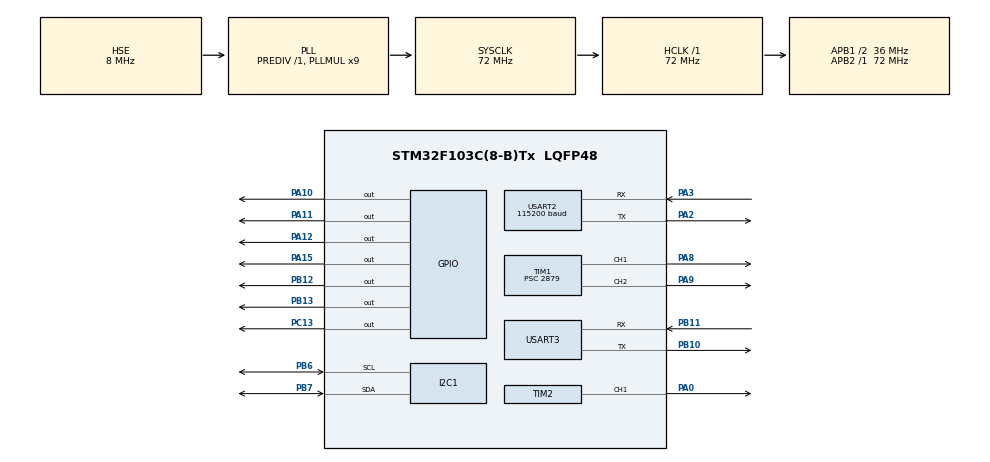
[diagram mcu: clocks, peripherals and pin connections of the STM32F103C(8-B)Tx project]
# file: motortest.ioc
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Dma.Request0=USART3_RX
Dma.USART3_RX.0.Direction=DMA_PERIPH_TO_MEMORY
Dma.USART3_RX.0.Instance=DMA1_Channel3
Dma.USART3_RX.0.MemDataAlignment=DMA_MDATAALIGN_BYTE
Dma.USART3_RX.0.MemInc=DMA_MINC_ENABLE
Dma.USART3_RX.0.Mode=DMA_NORMAL
Dma.USART3_RX.0.PeriphDataAlignment=DMA_PDATAALIGN_BYTE
Dma.USART3_RX.0.PeriphInc=DMA_PINC_DISABLE
Dma.USART3_RX.0.Priority=DMA_PRIORITY_LOW
Mcu.Family=STM32F1
Mcu.Name=STM32F103C(8-B)Tx
Mcu.Package=LQFP48
NVIC.DMA1_Channel3_IRQn=true\:0\:0\:false\:false\:true\:false\:true\:true
NVIC.I2C1_EV_IRQn=true\:0\:0\:false\:false\:true\:true\:true\:true
NVIC.PriorityGroup=NVIC_PRIORITYGROUP_4
NVIC.USART2_IRQn=true\:0\:0\:false\:false\:true\:true\:true\:true
NVIC.USART3_IRQn=true\:0\:0\:false\:false\:true\:true\:true\:true
PA0-WKUP.Signal=S_TIM2_CH1_ETR
PA10.GPIO_PuPd=GPIO_NOPULL
PA10.Signal=GPIO_Output
PA11.GPIO_PuPd=GPIO_NOPULL
PA11.Signal=GPIO_Output
PA12.Signal=GPIO_Output
PA13.Mode=Trace_Asynchronous_SW
PA13.Signal=SYS_JTMS-SWDIO
PA14.Mode=Trace_Asynchronous_SW
PA14.Signal=SYS_JTCK-SWCLK
PA15.Signal=GPIO_Output
PA2.Mode=Asynchronous
PA2.Signal=USART2_TX
PA3.Mode=Asynchronous
PA3.Signal=USART2_RX
PA8.Signal=S_TIM1_CH1
PA9.Signal=S_TIM1_CH2
PB10.Mode=Asynchronous
PB10.Signal=USART3_TX
PB11.Mode=Asynchronous
PB11.Signal=USART3_RX
PB12.Signal=GPIO_Output
PB13.Signal=GPIO_Output
PB3.Mode=Trace_Asynchronous_SW
PB3.Signal=SYS_JTDO-TRACESWO
PB6.Mode=I2C
PB6.Signal=I2C1_SCL
PB7.Mode=I2C
PB7.Signal=I2C1_SDA
PC13-TAMPER-RTC.Signal=GPIO_Output
PD0-OSC_IN.Mode=HSE-External-Oscillator
PD0-OSC_IN.Signal=RCC_OSC_IN
PD1-OSC_OUT.Mode=HSE-External-Oscillator
PD1-OSC_OUT.Signal=RCC_OSC_OUT
ProjectManager.HeapSize=0x200
ProjectManager.StackSize=0x400
ProjectManager.TargetToolchain=STM32CubeIDE
RCC.AHBFreq_Value=72000000
RCC.APB1CLKDivider=RCC_HCLK_DIV2
RCC.APB1Freq_Value=36000000
RCC.APB1TimFreq_Value=72000000
RCC.APB2Freq_Value=72000000
RCC.APB2TimFreq_Value=72000000
RCC.HCLKFreq_Value=72000000
RCC.PLLMUL=RCC_PLL_MUL9
RCC.PLLSourceVirtual=RCC_PLLSOURCE_HSE
RCC.SYSCLKFreq_VALUE=72000000
RCC.SYSCLKSource=RCC_SYSCLKSOURCE_PLLCLK
RCC.USBFreq_Value=72000000
SH.S_TIM1_CH1.0=TIM1_CH1,PWM Generation1 CH1
SH.S_TIM1_CH2.0=TIM1_CH2,PWM Generation2 CH2
SH.S_TIM2_CH1_ETR.0=TIM2_CH1,PWM Generation1 CH1
TIM1.Channel-PWM\ Generation1\ CH1=TIM_CHANNEL_1
TIM1.Channel-PWM\ Generation2\ CH2=TIM_CHANNEL_2
TIM1.Period=250
TIM1.Prescaler=2879
TIM2.Channel-PWM\ Generation1\ CH1=TIM_CHANNEL_1
TIM2.Period=250
TIM2.Prescaler=2879
USART2.BaudRate=115200
USART2.VirtualMode=VM_ASYNC
USART3.VirtualMode=VM_ASYNC
VP_TIM1_VS_ClockSourceINT.Mode=Internal
board=custom

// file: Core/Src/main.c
/* USER CODE BEGIN Header */
/**
  ******************************************************************************
  * @file           : main.c
  * @brief          : Main program body
  ******************************************************************************
  * @attention
  *
  * Copyright (c) 2026 STMicroelectronics.
  * All rights reserved.
  *
  * This software is licensed under terms that can be found in the LICENSE file
  * in the root directory of this software component.
  * If no LICENSE file comes with this software, it is provided AS-IS.
  *
  ******************************************************************************
  */
/* USER CODE END Header */
#include "main.h"

/* USER CODE BEGIN Includes */
#include "VL53L0X.h"
#include <stdio.h>
#include <string.h>
#include "motor_control.h"
#include "lidar_driver.h"
#include "bluetooth.h"
#include "autopilot.h"
/* USER CODE END Includes */

I2C_HandleTypeDef hi2c1;

TIM_HandleTypeDef htim1;
TIM_HandleTypeDef htim2;

UART_HandleTypeDef huart2;
UART_HandleTypeDef huart3;
DMA_HandleTypeDef hdma_usart3_rx;

/* USER CODE BEGIN PV */

uint8_t raw_data[256] = {0,}; // буфер для хранения "сырых" данных (байты)

uint8_t arr[200] = {0,}; // буфер приема данных с лидара
uint8_t RxIdle = 0; // флаг, устанавливается в 1 после успешного принятия данных в callback idle
uint16_t sizeIdle = 0; // колво принятых байт, устанавливается в callback idle
uint16_t distanceR, distanceL; // дистанция в мм с VL53L0X
statInfo_t_VL53L0X distanceStr1;
statInfo_t_VL53L0X distanceStr2;

uint32_t a = 0, b = 0, c = 0, g=0, l = 0;

/* USER CODE END PV */

void SystemClock_Config(void);
static void MX_GPIO_Init(void);
static void MX_DMA_Init(void);
static void MX_TIM1_Init(void);
static void MX_USART2_UART_Init(void);
static void MX_TIM2_Init(void);
static void MX_I2C1_Init(void);
static void MX_USART3_UART_Init(void);
/* USER CODE BEGIN PFP */
int _write(int file, char *ptr, int len)
{
/* Implement your write code here, this is used by puts and printf for example */
int i = 0;
for (i = 0; i<len; i++)
    ITM_SendChar((*ptr++));
return len;
}
/* USER CODE END PFP */

/* USER CODE BEGIN 0 */

/**
 * @brief  Функция опроса TOF-датчиков VL53L0X (в данный момент не используется в основном цикле).
 * @note   Имеет программную фильтрацию шумов (сверка двух последовательных измерений).
 */
static void Measurement(){
	uint8_t count = 0;
	while(count!=3){
	getDistance(&distanceR, &distanceStr1,0x60);
	getDistance(&distanceL, &distanceStr2,0x52);

	uint16_t b = distanceR;
	uint16_t a = distanceL;
	getDistance(&distanceL, &distanceStr2, 0x52);
	getDistance(&distanceR, &distanceStr1,0x60);
	if((-100 > (a-distanceL) || (a-distanceL) < 100)  && (-100 > (b-distanceR) || (b-distanceR) < 100)){
		count++;
      }
	else{
		count = 0;
	}

	}
}

/* USER CODE END 0 */

int main(void)
{

  /* MCU Configuration--------------------------------------------------------*/

  /* Reset of all peripherals, Initializes the Flash interface and the Systick. */
  HAL_Init();

  /* Configure the system clock */
  SystemClock_Config();

  /* Initialize all configured peripherals */
  MX_GPIO_Init();
  MX_DMA_Init();
  MX_TIM1_Init();
  MX_USART2_UART_Init();
  MX_TIM2_Init();
  MX_I2C1_Init();
  MX_USART3_UART_Init();
  /* USER CODE BEGIN 2 */

  HAL_TIM_PWM_Start(&htim1, TIM_CHANNEL_1);
  HAL_TIM_PWM_Start(&htim1, TIM_CHANNEL_2);
  HAL_TIM_PWM_Start(&htim2, TIM_CHANNEL_1);
  __HAL_TIM_SET_COMPARE(&htim2, TIM_CHANNEL_1, 0);
  HAL_UARTEx_ReceiveToIdle_DMA(&huart3, arr, sizeof(arr));
  HAL_UART_Receive_IT(&huart2, &str, 1);
  HAL_TIM_Base_Start_IT(&htim2);
  setvbuf(stdout, NULL, _IONBF, 0);
    /*HAL_GPIO_WritePin(GPIOB, GPIO_PIN_12, GPIO_PIN_RESET);
    HAL_GPIO_WritePin(GPIOB, GPIO_PIN_13, GPIO_PIN_RESET);
    HAL_Delay(10);
    HAL_GPIO_WritePin(GPIOB, GPIO_PIN_12, GPIO_PIN_SET);
    HAL_Delay(10);
    // Initialise the VL53L0X
    initVL53L0X(1,&hi2c1);
    setAddress_VL53L0X(0x60);
    HAL_GPIO_WritePin(GPIOB, GPIO_PIN_13, GPIO_PIN_SET);
    HAL_Delay(10);
    	  // Initialise the VL53L0X
    selectAddress_VL53L0X(0x52);
    initVL53L0X(1, &hi2c1);*/

  __HAL_TIM_SET_COMPARE(&htim2, TIM_CHANNEL_1,100);
  /* USER CODE END 2 */

  /* Infinite loop */
  while (1)
  {

    /* USER CODE BEGIN 3 */

	 // BTcommandIsActive();
          if(RxIdle){
	    	parsing(raw_data, sizeIdle);
	    	RxIdle = 0;
	    	  }
	  lidar_print_frame_it();

	  execute_bt_command();

  }
  //}
  /* USER CODE END 3 */
}

void SystemClock_Config(void)
{
  RCC_OscInitTypeDef RCC_OscInitStruct = {0};
  RCC_ClkInitTypeDef RCC_ClkInitStruct = {0};

  /** Initializes the RCC Oscillators according to the specified parameters
  * in the RCC_OscInitTypeDef structure.
  */
  RCC_OscInitStruct.OscillatorType = RCC_OSCILLATORTYPE_HSE;
  RCC_OscInitStruct.HSEState = RCC_HSE_ON;
  RCC_OscInitStruct.HSEPredivValue = RCC_HSE_PREDIV_DIV1;
  RCC_OscInitStruct.HSIState = RCC_HSI_ON;
  RCC_OscInitStruct.PLL.PLLState = RCC_PLL_ON;
  RCC_OscInitStruct.PLL.PLLSource = RCC_PLLSOURCE_HSE;
  RCC_OscInitStruct.PLL.PLLMUL = RCC_PLL_MUL9;
  if (HAL_RCC_OscConfig(&RCC_OscInitStruct) != HAL_OK)
  {
    Error_Handler();
  }

  /** Initializes the CPU, AHB and APB buses clocks
  */
  RCC_ClkInitStruct.ClockType = RCC_CLOCKTYPE_HCLK|RCC_CLOCKTYPE_SYSCLK
                              |RCC_CLOCKTYPE_PCLK1|RCC_CLOCKTYPE_PCLK2;
  RCC_ClkInitStruct.SYSCLKSource = RCC_SYSCLKSOURCE_PLLCLK;
  RCC_ClkInitStruct.AHBCLKDivider = RCC_SYSCLK_DIV1;
  RCC_ClkInitStruct.APB1CLKDivider = RCC_HCLK_DIV2;
  RCC_ClkInitStruct.APB2CLKDivider = RCC_HCLK_DIV1;

  if (HAL_RCC_ClockConfig(&RCC_ClkInitStruct, FLASH_LATENCY_2) != HAL_OK)
  {
    Error_Handler();
  }
}

static void MX_I2C1_Init(void)
{

  hi2c1.Instance = I2C1;
  hi2c1.Init.ClockSpeed = 100000;
  hi2c1.Init.DutyCycle = I2C_DUTYCYCLE_2;
  hi2c1.Init.OwnAddress1 = 0;
  hi2c1.Init.AddressingMode = I2C_ADDRESSINGMODE_7BIT;
  hi2c1.Init.DualAddressMode = I2C_DUALADDRESS_DISABLE;
  hi2c1.Init.OwnAddress2 = 0;
  hi2c1.Init.GeneralCallMode = I2C_GENERALCALL_DISABLE;
  hi2c1.Init.NoStretchMode = I2C_NOSTRETCH_DISABLE;
  if (HAL_I2C_Init(&hi2c1) != HAL_OK)
  {
    Error_Handler();
  }

}

static void MX_TIM1_Init(void)
{

  TIM_ClockConfigTypeDef sClockSourceConfig = {0};
  TIM_MasterConfigTypeDef sMasterConfig = {0};
  TIM_OC_InitTypeDef sConfigOC = {0};
  TIM_BreakDeadTimeConfigTypeDef sBreakDeadTimeConfig = {0};

  htim1.Instance = TIM1;
  htim1.Init.Prescaler = 2879;
  htim1.Init.CounterMode = TIM_COUNTERMODE_UP;
  htim1.Init.Period = 250;
  htim1.Init.ClockDivision = TIM_CLOCKDIVISION_DIV1;
  htim1.Init.RepetitionCounter = 0;
  htim1.Init.AutoReloadPreload = TIM_AUTORELOAD_PRELOAD_DISABLE;
  if (HAL_TIM_Base_Init(&htim1) != HAL_OK)
  {
    Error_Handler();
  }
  sClockSourceConfig.ClockSource = TIM_CLOCKSOURCE_INTERNAL;
  if (HAL_TIM_ConfigClockSource(&htim1, &sClockSourceConfig) != HAL_OK)
  {
    Error_Handler();
  }
  if (HAL_TIM_PWM_Init(&htim1) != HAL_OK)
  {
    Error_Handler();
  }
  sMasterConfig.MasterOutputTrigger = TIM_TRGO_RESET;
  sMasterConfig.MasterSlaveMode = TIM_MASTERSLAVEMODE_DISABLE;
  if (HAL_TIMEx_MasterConfigSynchronization(&htim1, &sMasterConfig) != HAL_OK)
  {
    Error_Handler();
  }
  sConfigOC.OCMode = TIM_OCMODE_PWM1;
  sConfigOC.Pulse = 0;
  sConfigOC.OCPolarity = TIM_OCPOLARITY_HIGH;
  sConfigOC.OCNPolarity = TIM_OCNPOLARITY_HIGH;
  sConfigOC.OCFastMode = TIM_OCFAST_DISABLE;
  sConfigOC.OCIdleState = TIM_OCIDLESTATE_RESET;
  sConfigOC.OCNIdleState = TIM_OCNIDLESTATE_RESET;
  if (HAL_TIM_PWM_ConfigChannel(&htim1, &sConfigOC, TIM_CHANNEL_1) != HAL_OK)
  {
    Error_Handler();
  }
  if (HAL_TIM_PWM_ConfigChannel(&htim1, &sConfigOC, TIM_CHANNEL_2) != HAL_OK)
  {
    Error_Handler();
  }
  sBreakDeadTimeConfig.OffStateRunMode = TIM_OSSR_DISABLE;
  sBreakDeadTimeConfig.OffStateIDLEMode = TIM_OSSI_DISABLE;
  sBreakDeadTimeConfig.LockLevel = TIM_LOCKLEVEL_OFF;
  sBreakDeadTimeConfig.DeadTime = 0;
  sBreakDeadTimeConfig.BreakState = TIM_BREAK_DISABLE;
  sBreakDeadTimeConfig.BreakPolarity = TIM_BREAKPOLARITY_HIGH;
  sBreakDeadTimeConfig.AutomaticOutput = TIM_AUTOMATICOUTPUT_DISABLE;
  if (HAL_TIMEx_ConfigBreakDeadTime(&htim1, &sBreakDeadTimeConfig) != HAL_OK)
  {
    Error_Handler();
  }
  HAL_TIM_MspPostInit(&htim1);

}

static void MX_TIM2_Init(void)
{

  TIM_MasterConfigTypeDef sMasterConfig = {0};
  TIM_OC_InitTypeDef sConfigOC = {0};

  htim2.Instance = TIM2;
  htim2.Init.Prescaler = 2879;
  htim2.Init.CounterMode = TIM_COUNTERMODE_UP;
  htim2.Init.Period = 250;
  htim2.Init.ClockDivision = TIM_CLOCKDIVISION_DIV1;
  htim2.Init.AutoReloadPreload = TIM_AUTORELOAD_PRELOAD_DISABLE;
  if (HAL_TIM_PWM_Init(&htim2) != HAL_OK)
  {
    Error_Handler();
  }
  sMasterConfig.MasterOutputTrigger = TIM_TRGO_RESET;
  sMasterConfig.MasterSlaveMode = TIM_MASTERSLAVEMODE_DISABLE;
  if (HAL_TIMEx_MasterConfigSynchronization(&htim2, &sMasterConfig) != HAL_OK)
  {
    Error_Handler();
  }
  sConfigOC.OCMode = TIM_OCMODE_PWM1;
  sConfigOC.Pulse = 0;
  sConfigOC.OCPolarity = TIM_OCPOLARITY_HIGH;
  sConfigOC.OCFastMode = TIM_OCFAST_DISABLE;
  if (HAL_TIM_PWM_ConfigChannel(&htim2, &sConfigOC, TIM_CHANNEL_1) != HAL_OK)
  {
    Error_Handler();
  }
  HAL_TIM_MspPostInit(&htim2);

}

static void MX_USART2_UART_Init(void)
{

  huart2.Instance = USART2;
  huart2.Init.BaudRate = 115200;
  huart2.Init.WordLength = UART_WORDLENGTH_8B;
  huart2.Init.StopBits = UART_STOPBITS_1;
  huart2.Init.Parity = UART_PARITY_NONE;
  huart2.Init.Mode = UART_MODE_TX_RX;
  huart2.Init.HwFlowCtl = UART_HWCONTROL_NONE;
  huart2.Init.OverSampling = UART_OVERSAMPLING_16;
  if (HAL_UART_Init(&huart2) != HAL_OK)
  {
    Error_Handler();
  }

}

static void MX_USART3_UART_Init(void)
{

  huart3.Instance = USART3;
  huart3.Init.BaudRate = 115200;
  huart3.Init.WordLength = UART_WORDLENGTH_8B;
  huart3.Init.StopBits = UART_STOPBITS_1;
  huart3.Init.Parity = UART_PARITY_NONE;
  huart3.Init.Mode = UART_MODE_TX_RX;
  huart3.Init.HwFlowCtl = UART_HWCONTROL_NONE;
  huart3.Init.OverSampling = UART_OVERSAMPLING_16;
  if (HAL_UART_Init(&huart3) != HAL_OK)
  {
    Error_Handler();
  }

}

static void MX_DMA_Init(void)
{

  /* DMA controller clock enable */
  __HAL_RCC_DMA1_CLK_ENABLE();

  /* DMA interrupt init */
  /* DMA1_Channel3_IRQn interrupt configuration */
  HAL_NVIC_SetPriority(DMA1_Channel3_IRQn, 0, 0);
  HAL_NVIC_EnableIRQ(DMA1_Channel3_IRQn);

}

static void MX_GPIO_Init(void)
{
  GPIO_InitTypeDef GPIO_InitStruct = {0};

  /* GPIO Ports Clock Enable */
  __HAL_RCC_GPIOC_CLK_ENABLE();
  __HAL_RCC_GPIOD_CLK_ENABLE();
  __HAL_RCC_GPIOA_CLK_ENABLE();
  __HAL_RCC_GPIOB_CLK_ENABLE();

  /*Configure GPIO pin Output Level */
  HAL_GPIO_WritePin(GPIOC, GPIO_PIN_13, GPIO_PIN_RESET);

  /*Configure GPIO pin Output Level */
  HAL_GPIO_WritePin(GPIOB, GPIO_PIN_12|GPIO_PIN_13, GPIO_PIN_RESET);

  /*Configure GPIO pin Output Level */
  HAL_GPIO_WritePin(GPIOA, GPIO_PIN_10|GPIO_PIN_11|GPIO_PIN_12|GPIO_PIN_15, GPIO_PIN_RESET);

  /*Configure GPIO pin : PC13 */
  GPIO_InitStruct.Pin = GPIO_PIN_13;
  GPIO_InitStruct.Mode = GPIO_MODE_OUTPUT_PP;
  GPIO_InitStruct.Pull = GPIO_NOPULL;
  GPIO_InitStruct.Speed = GPIO_SPEED_FREQ_LOW;
  HAL_GPIO_Init(GPIOC, &GPIO_InitStruct);

  /*Configure GPIO pins : PB12 PB13 */
  GPIO_InitStruct.Pin = GPIO_PIN_12|GPIO_PIN_13;
  GPIO_InitStruct.Mode = GPIO_MODE_OUTPUT_PP;
  GPIO_InitStruct.Pull = GPIO_NOPULL;
  GPIO_InitStruct.Speed = GPIO_SPEED_FREQ_LOW;
  HAL_GPIO_Init(GPIOB, &GPIO_InitStruct);

  /*Configure GPIO pins : PA10 PA11 PA12 PA15 */
  GPIO_InitStruct.Pin = GPIO_PIN_10|GPIO_PIN_11|GPIO_PIN_12|GPIO_PIN_15;
  GPIO_InitStruct.Mode = GPIO_MODE_OUTPUT_PP;
  GPIO_InitStruct.Pull = GPIO_NOPULL;
  GPIO_InitStruct.Speed = GPIO_SPEED_FREQ_LOW;
  HAL_GPIO_Init(GPIOA, &GPIO_InitStruct);

}

/* USER CODE BEGIN 4 */

/**
 * @brief  Коллбэк приема данных по UART через DMA (по событию IDLE - линия свободна).
 * @note   Используется для приема пакетов от Лидара (USART3). Срабатывает, когда пакет принят целиком.
 */
void HAL_UARTEx_RxEventCallback(UART_HandleTypeDef *huart, uint16_t Size)
{
	if(huart->Instance != USART3){
		return;
	}
    // Если размер в рамках буфера и мы успели обработать прошлый пакет (RxIdle == 0)
	if (Size <= sizeof(raw_data) && !RxIdle)
	{
	    memcpy(raw_data, arr, Size); // Копируем сырые данные для безопасного парсинга
	    sizeIdle = Size;
	    RxIdle = 1; // Поднимаем флаг для обработки в main-цикле
	}
    // Перезапускаем прием DMA до следующего события IDLE
	HAL_UARTEx_ReceiveToIdle_DMA(&huart3, arr, sizeof(arr));
}

/**
 * @brief  Коллбэк стандартного приема по прерыванию (IT).
 * @note   Используется для приема одиночных байт-команд управления от Bluetooth модуля (USART2).
 */
void HAL_UART_RxCpltCallback(UART_HandleTypeDef *huart) {
	if(huart == &huart2) {
	    // Перезапускаем прием 1 байта в переменную str
	    HAL_UART_Receive_IT (&huart2, &str, 1);
	    now_getBTcommand = HAL_GetTick(); // Обновляем таймер для функции BTcommandIsActive()
	  }
}

/**
 * @brief  Коллбэк успешного завершения отправки по UART (IT).
 * @note   Снимает блокировку отправки (uart_tx_busy), позволяя отправить следующий фрейм лидара.
 */
void HAL_UART_TxCpltCallback(UART_HandleTypeDef *huart)
{
    if (huart->Instance == USART2)
    {
        uart_tx_busy = 0;
    }

}

/*void HAL_UART_TxCpltCallback(UART_HandleTypeDef *huart) {

  if(huart == &huart2) {

    dataTransmitted=1;

    if( dataReceived != 0 ) {
      HAL_UART_Transmit_IT(&huart2, &str, 1); // возврат по UART
      dataReceived=0;
      dataTransmitted=0;
    }
  }
}
*/

/* USER CODE END 4 */

void Error_Handler(void)
{
  __disable_irq();
  while (1)
  {
  }
}
